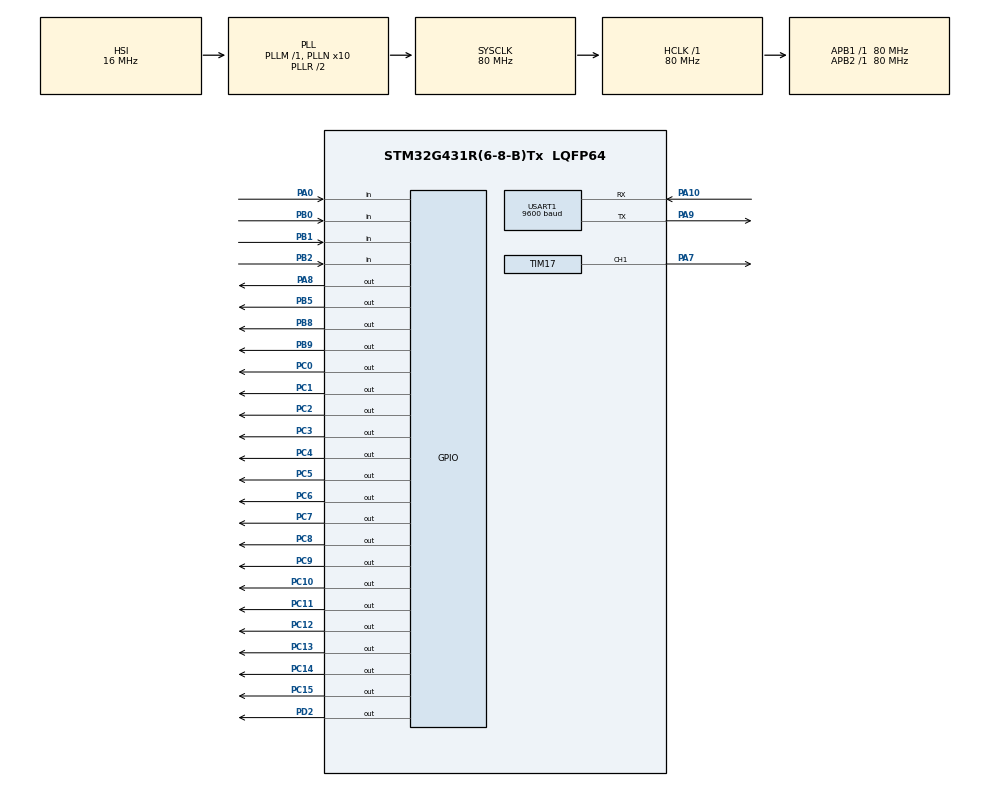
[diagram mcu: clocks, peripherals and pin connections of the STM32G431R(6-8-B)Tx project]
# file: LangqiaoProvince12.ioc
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Mcu.Family=STM32G4
Mcu.Name=STM32G431R(6-8-B)Tx
Mcu.Package=LQFP64
NVIC.PriorityGroup=NVIC_PRIORITYGROUP_4
NVIC.TIM1_UP_TIM16_IRQn=true\:0\:0\:false\:false\:true\:true\:true\:true
NVIC.USART1_IRQn=true\:0\:0\:false\:false\:true\:true\:true\:true
PA0.GPIO_PuPd=GPIO_PULLUP
PA0.Signal=GPIO_Input
PA10.Mode=Asynchronous
PA10.Signal=USART1_RX
PA13.Mode=Serial_Wire
PA13.Signal=SYS_JTMS-SWDIO
PA14.Mode=Serial_Wire
PA14.Signal=SYS_JTCK-SWCLK
PA7.Signal=S_TIM17_CH1
PA8.Signal=GPIO_Output
PA9.Mode=Asynchronous
PA9.Signal=USART1_TX
PB0.GPIO_PuPd=GPIO_PULLUP
PB0.Signal=GPIO_Input
PB1.GPIO_PuPd=GPIO_PULLUP
PB1.Signal=GPIO_Input
PB2.GPIO_PuPd=GPIO_PULLUP
PB2.Signal=GPIO_Input
PB5.Signal=GPIO_Output
PB8-BOOT0.Signal=GPIO_Output
PB9.Signal=GPIO_Output
PC0.Signal=GPIO_Output
PC1.Signal=GPIO_Output
PC10.GPIO_ModeDefaultOutputPP=GPIO_MODE_OUTPUT_PP
PC10.GPIO_PuPd=GPIO_PULLUP
PC10.PinState=GPIO_PIN_SET
PC10.Signal=GPIO_Output
PC11.GPIO_ModeDefaultOutputPP=GPIO_MODE_OUTPUT_PP
PC11.GPIO_PuPd=GPIO_PULLUP
PC11.PinState=GPIO_PIN_SET
PC11.Signal=GPIO_Output
PC12.GPIO_ModeDefaultOutputPP=GPIO_MODE_OUTPUT_PP
PC12.GPIO_PuPd=GPIO_PULLUP
PC12.PinState=GPIO_PIN_SET
PC12.Signal=GPIO_Output
PC13.GPIO_ModeDefaultOutputPP=GPIO_MODE_OUTPUT_PP
PC13.GPIO_PuPd=GPIO_PULLUP
PC13.PinState=GPIO_PIN_SET
PC13.Signal=GPIO_Output
PC14-OSC32_IN.GPIO_ModeDefaultOutputPP=GPIO_MODE_OUTPUT_PP
PC14-OSC32_IN.GPIO_PuPd=GPIO_PULLUP
PC14-OSC32_IN.PinState=GPIO_PIN_SET
PC14-OSC32_IN.Signal=GPIO_Output
PC15-OSC32_OUT.GPIO_ModeDefaultOutputPP=GPIO_MODE_OUTPUT_PP
PC15-OSC32_OUT.GPIO_PuPd=GPIO_PULLUP
PC15-OSC32_OUT.PinState=GPIO_PIN_SET
PC15-OSC32_OUT.Signal=GPIO_Output
PC2.Signal=GPIO_Output
PC3.Signal=GPIO_Output
PC4.Signal=GPIO_Output
PC5.Signal=GPIO_Output
PC6.Signal=GPIO_Output
PC7.Signal=GPIO_Output
PC8.GPIO_ModeDefaultOutputPP=GPIO_MODE_OUTPUT_PP
PC8.GPIO_PuPd=GPIO_PULLUP
PC8.PinState=GPIO_PIN_SET
PC8.Signal=GPIO_Output
PC9.GPIO_ModeDefaultOutputPP=GPIO_MODE_OUTPUT_PP
PC9.GPIO_PuPd=GPIO_PULLUP
PC9.PinState=GPIO_PIN_SET
PC9.Signal=GPIO_Output
PD2.Signal=GPIO_Output
PF0-OSC_IN.Mode=HSE-External-Oscillator
PF0-OSC_IN.Signal=RCC_OSC_IN
PF1-OSC_OUT.Mode=HSE-External-Oscillator
PF1-OSC_OUT.Signal=RCC_OSC_OUT
ProjectManager.HeapSize=0x200
ProjectManager.StackSize=0x400
ProjectManager.TargetToolchain=MDK-ARM V5.32
RCC.ADC12Freq_Value=80000000
RCC.AHBFreq_Value=80000000
RCC.APB1Freq_Value=80000000
RCC.APB1TimFreq_Value=80000000
RCC.APB2Freq_Value=80000000
RCC.APB2TimFreq_Value=80000000
RCC.CortexFreq_Value=80000000
RCC.EXTERNAL_CLOCK_VALUE=12288000
RCC.HCLKFreq_Value=80000000
RCC.HSE_VALUE=24000000
RCC.HSI48_VALUE=48000000
RCC.HSI_VALUE=16000000
RCC.LSE_VALUE=32768
RCC.PLLN=10
RCC.SYSCLKFreq_VALUE=80000000
RCC.SYSCLKSource=RCC_SYSCLKSOURCE_PLLCLK
RCC.USBFreq_Value=80000000
RCC.VCOOutputFreq_Value=160000000
SH.S_TIM17_CH1.0=TIM17_CH1,PWM Generation1 CH1
TIM16.PeriodNoDither=1000-1
TIM16.Prescaler=800-1
TIM17.Channel=TIM_CHANNEL_1
TIM17.PeriodNoDither=100-1
TIM17.Prescaler=400-1
TIM17.PulseNoDither_1=0
USART1.BaudRate=9600
USART1.VirtualMode-Asynchronous=VM_ASYNC
VP_SYS_VS_DBSignals.Mode=DisableDeadBatterySignals
VP_TIM16_VS_ClockSourceINT.Mode=Enable_Timer
VP_TIM17_VS_ClockSourceINT.Mode=Enable_Timer
board=custom

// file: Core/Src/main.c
/* USER CODE BEGIN Header */
/**
  ******************************************************************************
  * @file           : main.c
  * @brief          : Main program body
  ******************************************************************************
  * @attention
  *
  * Copyright (c) 2024 STMicroelectronics.
  * All rights reserved.
  *
  * This software is licensed under terms that can be found in the LICENSE file
  * in the root directory of this software component.
  * If no LICENSE file comes with this software, it is provided AS-IS.
  *
  ******************************************************************************
  */
/* USER CODE END Header */
#include "main.h"
#include "tim.h"
#include "usart.h"
#include "gpio.h"

/* USER CODE BEGIN Includes */
#include "lcd.h"
#include "led.h"
#include "interrupt.h"
#include "stdio.h"
#include "string.h"
#include "stdbool.h"
/* USER CODE END Includes */

/* USER CODE BEGIN PD */
extern struct keys Key[];
extern uchar led1_on;
extern uchar led2_on;
extern char rx_data[];
extern uchar rx_pointer;
extern uint8_t rx;
/* USER CODE END PD */

/* USER CODE BEGIN PM */
void key_proc(void);
void lcd_proc(void);
void led_proc(void);
void UART_proc(void);
/* USER CODE END PM */

/* USER CODE BEGIN PV */
uchar view=0;
uchar PWM_Mod=0;

uchar CNBR=0,VNBR=0,IDLE=8;
double CNBR_fee=3.50,VNBR_fee=2.00;

struct Part_data
{
	char car_type[5];
	char stop_type[5];
	char time[13];
	char flag; //标志是否被占用
}Car_Part[8];
/* USER CODE END PV */

void SystemClock_Config(void);

int main(void)
{

  /* MCU Configuration--------------------------------------------------------*/

  /* Reset of all peripherals, Initializes the Flash interface and the Systick. */
  HAL_Init();

  /* Configure the system clock */
  SystemClock_Config();

  /* Initialize all configured peripherals */
  MX_GPIO_Init();
  MX_TIM16_Init();
  MX_TIM17_Init();
  MX_USART1_UART_Init();
  /* USER CODE BEGIN 2 */
	HAL_TIM_Base_Start_IT(&htim16);
	HAL_TIM_PWM_Start(&htim17,TIM_CHANNEL_1);
	HAL_UART_Receive_IT(&huart1,&rx,1);

	LCD_Init();
	LCD_Clear(Black);
  LCD_SetBackColor(Black);
  LCD_SetTextColor(White);

	LED_Disp(0x00);
  /* USER CODE END 2 */

  /* Infinite loop */
  /* USER CODE BEGIN WHILE */
  while (1)
  {
		key_proc();
		led_proc();
		lcd_proc();
		if(rx_pointer!=0)
		{
			uchar temp=rx_pointer;
			HAL_Delay(1);
			if(temp==rx_pointer) UART_proc();
		}
    /* USER CODE END WHILE */

  }
}

void SystemClock_Config(void)
{
  RCC_OscInitTypeDef RCC_OscInitStruct = {0};
  RCC_ClkInitTypeDef RCC_ClkInitStruct = {0};

  /** Configure the main internal regulator output voltage
  */
  HAL_PWREx_ControlVoltageScaling(PWR_REGULATOR_VOLTAGE_SCALE1);

  /** Initializes the RCC Oscillators according to the specified parameters
  * in the RCC_OscInitTypeDef structure.
  */
  RCC_OscInitStruct.OscillatorType = RCC_OSCILLATORTYPE_HSI;
  RCC_OscInitStruct.HSIState = RCC_HSI_ON;
  RCC_OscInitStruct.HSICalibrationValue = RCC_HSICALIBRATION_DEFAULT;
  RCC_OscInitStruct.PLL.PLLState = RCC_PLL_ON;
  RCC_OscInitStruct.PLL.PLLSource = RCC_PLLSOURCE_HSI;
  RCC_OscInitStruct.PLL.PLLM = RCC_PLLM_DIV1;
  RCC_OscInitStruct.PLL.PLLN = 10;
  RCC_OscInitStruct.PLL.PLLP = RCC_PLLP_DIV2;
  RCC_OscInitStruct.PLL.PLLQ = RCC_PLLQ_DIV2;
  RCC_OscInitStruct.PLL.PLLR = RCC_PLLR_DIV2;
  if (HAL_RCC_OscConfig(&RCC_OscInitStruct) != HAL_OK)
  {
    Error_Handler();
  }

  /** Initializes the CPU, AHB and APB buses clocks
  */
  RCC_ClkInitStruct.ClockType = RCC_CLOCKTYPE_HCLK|RCC_CLOCKTYPE_SYSCLK
                              |RCC_CLOCKTYPE_PCLK1|RCC_CLOCKTYPE_PCLK2;
  RCC_ClkInitStruct.SYSCLKSource = RCC_SYSCLKSOURCE_PLLCLK;
  RCC_ClkInitStruct.AHBCLKDivider = RCC_SYSCLK_DIV1;
  RCC_ClkInitStruct.APB1CLKDivider = RCC_HCLK_DIV1;
  RCC_ClkInitStruct.APB2CLKDivider = RCC_HCLK_DIV1;

  if (HAL_RCC_ClockConfig(&RCC_ClkInitStruct, FLASH_LATENCY_2) != HAL_OK)
  {
    Error_Handler();
  }
}

/* USER CODE BEGIN 4 */
void key_proc(void)
{
	if(Key[0].single_flag==1)
	{
		view++;
		if(view==2) view=0;
		LCD_Clear(Black);
		Key[0].single_flag=0;
	}
	if(Key[1].single_flag==1)
	{
		CNBR_fee+=0.5;
		VNBR_fee+=0.5;
		Key[1].single_flag=0;
	}
	if(Key[2].single_flag==1)
	{
		CNBR_fee-=0.5;
		VNBR_fee-=0.5;
		Key[2].single_flag=0;
	}
	if(Key[3].single_flag==1)
	{
		PWM_Mod=~PWM_Mod;
		if(PWM_Mod)
		{
			__HAL_TIM_SetCompare(&htim17,TIM_CHANNEL_1,20);
		}
		else
		{
			__HAL_TIM_SetCompare(&htim17,TIM_CHANNEL_1,0);
		}
		Key[3].single_flag=0;
	}
}

void lcd_proc(void)
{
	char text[30];
	if(view==0)
	{
		sprintf(text,"       Data      ");
		LCD_DisplayStringLine(Line2, (unsigned char *)text);
		sprintf(text,"   CNBR:%d      ",CNBR);
		LCD_DisplayStringLine(Line4, (unsigned char *)text);
		sprintf(text,"   VNBR:%d      ",VNBR);
		LCD_DisplayStringLine(Line6, (unsigned char *)text);
		sprintf(text,"   IDLE:%d      ",IDLE);
		LCD_DisplayStringLine(Line8, (unsigned char *)text);

//		sprintf(text,"StopType:%s      ",stop_type);
//		LCD_DisplayStringLine(Line5, (unsigned char *)text);
//		sprintf(text,"CarType:%s      ",car_type);
//		LCD_DisplayStringLine(Line7, (unsigned char *)text);
//		sprintf(text,"Time:%s      ",time);
//		LCD_DisplayStringLine(Line9, (unsigned char *)text);

	}
	else if(view==1)
	{
		sprintf(text,"       Para      ");
		LCD_DisplayStringLine(Line2, (unsigned char *)text);
		sprintf(text,"   CNBR:%.2f      ",CNBR_fee);
		LCD_DisplayStringLine(Line4, (unsigned char *)text);
		sprintf(text,"   VNBR:%.2f      ",VNBR_fee);
		LCD_DisplayStringLine(Line6, (unsigned char *)text);
	}

}
void led_proc(void)
{
	if(IDLE) led1_on=1;
	else led1_on=0;
	if(PWM_Mod) led2_on=1;
	else led2_on=0;
}

bool Judge_Time_Legal(char *time)
{
	//判断时间是否错误
	for(int i=0;i<12;i++)
	{
		if(time[i]<'0' || time[i]>'9')
		{
			return 0;
		}
	}
	int year=(time[0]-'0')*10+(time[1]-'0')+2000;
	int mouth=(time[2]-'0')*10+(time[3]-'0');
	int day=(time[4]-'0')*10+(time[5]-'0');
	int hour=(time[6]-'0')*10+(time[7]-'0');
	int minute=(time[8]-'0')*10+(time[9]-'0');
	int second=(time[10]-'0')+(time[11]-'0');
	//判断时间是否错误
	if(hour>24 || minute>60 || second>60 || mouth>12)
		return 0;
	//判断日期是否错误
	if(mouth==1 || mouth==3 || mouth==5 || mouth==7 || mouth==8 || mouth==10 || mouth==12)
	{
		if(day>=1 && day<=31)
			return 1;
		else
			return 0;
	}
	else if(mouth==4 || mouth==6 || mouth==9 || mouth==11)
	{
		if(day>=1 && day<=30)
			return 1;
		else
			return 0;
	}
	else if((year%100!=0 && year%4==0) || year%400==0)
	{
		if(day>=1 && day<=29)
			return 1;
		else
			return 0;
	}
	else
	{
		if(day>=1 && day<=28)
			return 1;
		else
			return 0;
	}
}
int Calculate_Time_diff(char* time1,char* time2)
{
//	int year,mouth,day;
	int hour,minute,seconds;
//	year=(time1[0]-time2[0])*10+(time1[1]-time2[1]);
//	mouth=(time1[2]-time2[2])*10+(time1[3]-time2[3]);
//	day=(time1[4]-time2[4])*10+(time1[5]-time2[5]);
	hour=(time1[6]-time2[6])*10+(time1[7]-time2[7]);
	minute=(time1[8]-time2[8])*10+(time1[9]-time2[9]);
	seconds=(time1[10]-time2[10])*10+(time1[11]-time2[11]);

	int time_diff =hour*3600+minute*60+seconds;
	if(time_diff<0)
		return -1;
	int hour_diff=time_diff/3600;
	return hour_diff + (hour_diff*3600<time_diff);
}
void UART_proc(void)
{
	char car_type[5];
	char stop_type[5];
	char time[13];
	char text[30];
	uchar flag=1;
	uchar count=0;
	if(rx_pointer==22)
	{
		count=sscanf(rx_data,"%4s:%4s:%12s",stop_type,car_type,time);
		if(count!=3) flag=0;
		else
		{
			if(strcmp(stop_type,"CNBR")!=0 && strcmp(stop_type,"VNBR")!=0) //若不属于两种类型，则报错
			{
				flag=0;
			}
			if(!Judge_Time_Legal(time)) //若日期错误则报错
			{
				flag=0;
			}
		}
	}
	else flag=0;
	if(flag)
	{
		//检查是否为出站
		uchar out=0;
		for(int i=0;i<8;i++)
		{
			if(Car_Part[i].flag && strcmp(Car_Part[i].car_type,car_type)==0 && strcmp(Car_Part[i].stop_type,stop_type)==0)
			{
				int time_diff=Calculate_Time_diff(time,Car_Part[i].time);
				if(time_diff==-1)
				{
					sprintf(text,"Error\r\n");
					HAL_UART_Transmit(&huart1,(uint8_t*)text,strlen(text),50);
				}
				else
				{
					sprintf(text,"%4s:%4s:%12s\r\n",Car_Part[i].stop_type,Car_Part[i].car_type,Car_Part[i].time);
					HAL_UART_Transmit(&huart1,(uint8_t*)text,strlen(text),50);

					sprintf(text,"%4s:%4s:%12s\r\n",stop_type,car_type,time);
					HAL_UART_Transmit(&huart1,(uint8_t*)text,strlen(text),50);
					if(strcmp(stop_type,"VNBR")==0)
					{
						sprintf(text,"%4s:%4s:%d:%.2f \r\n",Car_Part[i].stop_type,Car_Part[i].car_type,time_diff,time_diff*VNBR_fee);
						HAL_UART_Transmit(&huart1,(uint8_t*)text,strlen(text),50);
						VNBR-=1;
					}
					else
					{
						sprintf(text,"%4s:%4s:%d:%.2f \r\n",Car_Part[i].stop_type,Car_Part[i].car_type,time_diff,(float)time_diff*CNBR_fee);
						HAL_UART_Transmit(&huart1,(uint8_t*)text,strlen(text),50);
						CNBR-=1;
					}
					Car_Part[i].flag=0; //成功出站
					IDLE+=1;
					out=1;
					break;
				}
			}
		}
		if(out==0)
		{
			if(IDLE==0) //没有位置了
			{
				sprintf(text,"Error\r\n");
				HAL_UART_Transmit(&huart1,(uint8_t*)text,strlen(text),50);
			}
			else //入站
			{
				for(int i=0;i<8;i++)
				{
					if(Car_Part[i].flag==0)
					{
						strcpy(Car_Part[i].car_type,car_type);
						strcpy(Car_Part[i].stop_type,stop_type);
						strcpy(Car_Part[i].time,time);
						Car_Part[i].flag=1;
						IDLE-=1;
						if(strcmp(stop_type,"VNBR")==0) VNBR+=1;
						else CNBR+=1;
						break;
					}
				}
			}
		}
	}
	else
	{
		sprintf(text,"Error\r\n");
		HAL_UART_Transmit(&huart1,(uint8_t*)text,strlen(text),50);
	}
	rx_pointer=0;
	memset(rx_data,0,30);
}

/* USER CODE END 4 */

void Error_Handler(void)
{
  __disable_irq();
  while (1)
  {
  }
}
